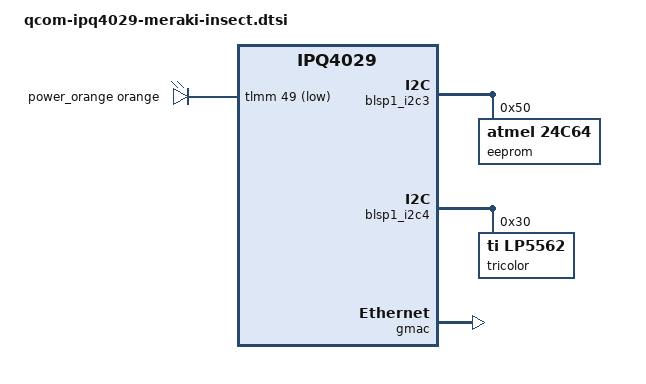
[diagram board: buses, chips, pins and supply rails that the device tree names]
// SPDX-License-Identifier: GPL-2.0-only
/*
 * Device Tree Source for Meraki devices
 *
 * Copyright (C) 2017 Chris Blake <chrisrblake93@gmail.com>
 * Copyright (C) 2017 Christian Lamparter <chunkeey@googlemail.com>
 * Copyright (C) 2025 Hal Martin <halmartin@googlemail.com>
 *
 * Based on Cisco Meraki DTS from GPL release r25-linux-3.14-20170427
 *
 * This file is licensed under the terms of the GNU General Public
 * License version 2.  This program is licensed "as is" without
 * any warranty of any kind, whether express or implied.
 */

#include "qcom-ipq4029-meraki-common.dtsi"

/ {
	aliases {
		led-boot = &status_green;
		led-failsafe = &status_red;
		led-running = &status_green;
		led-upgrade = &power_orange;
	};

	leds {
		compatible = "gpio-leds";

		power_orange: power {
			function = LED_FUNCTION_POWER;
			color = <LED_COLOR_ID_ORANGE>;
			gpios = <&tlmm 49 GPIO_ACTIVE_LOW>;
			panic-indicator;
		};
	};
};

&blsp1_i2c3 {
	eeprom@50 {
		compatible = "atmel,24c64";
		pagesize = <32>;
		reg = <0x50>;
		read-only; /* This holds our MAC & Meraki board-data */

		nvmem-layout {
			compatible = "fixed-layout";
			#address-cells = <1>;
			#size-cells = <1>;

			mac_address: mac-address@66 {
				compatible = "mac-base";
				reg = <0x66 0x6>;
				#nvmem-cell-cells = <1>;
			};
		};
	};
};

&blsp1_i2c4 {
	pinctrl-0 = <&i2c_1_pins>;
	pinctrl-names = "default";
	status = "okay";

	tricolor: led-controller@30 {
		compatible = "ti,lp5562";
		reg = <0x30>;
		clock-mode = /bits/8 <2>;
		#address-cells = <1>;
		#size-cells = <0>;

		/* RGB led */
		status_red: chan@0 {
			chan-name = "red:status";
			led-cur = /bits/ 8 <0x20>;
			max-cur = /bits/ 8 <0x60>;
			reg = <0>;
			color = <LED_COLOR_ID_RED>;
		};

		status_green: chan@1 {
			chan-name = "green:status";
			led-cur = /bits/ 8 <0x20>;
			max-cur = /bits/ 8 <0x60>;
			reg = <1>;
			color = <LED_COLOR_ID_GREEN>;
		};

		chan@2 {
			chan-name = "blue:status";
			led-cur = /bits/ 8 <0x20>;
			max-cur = /bits/ 8 <0x60>;
			reg = <2>;
			color = <LED_COLOR_ID_BLUE>;
		};

		chan@3 {
			chan-name = "white:status";
			led-cur = /bits/ 8 <0x20>;
			max-cur = /bits/ 8 <0x60>;
			reg = <3>;
			color = <LED_COLOR_ID_WHITE>;
		};
	};
};

&gmac {
	status = "okay";
	nvmem-cells = <&mac_address 0>;
	nvmem-cell-names = "mac-address";
};

&wifi0 {
	status = "disabled";
	nvmem-cells = <&mac_address 2>, <&precal_factory_1000>;
	nvmem-cell-names = "mac-address", "pre-calibration";
};

&wifi1 {
	status = "disabled";
	nvmem-cells = <&mac_address 3>, <&precal_factory_5000>;
	nvmem-cell-names = "mac-address", "pre-calibration";
};
